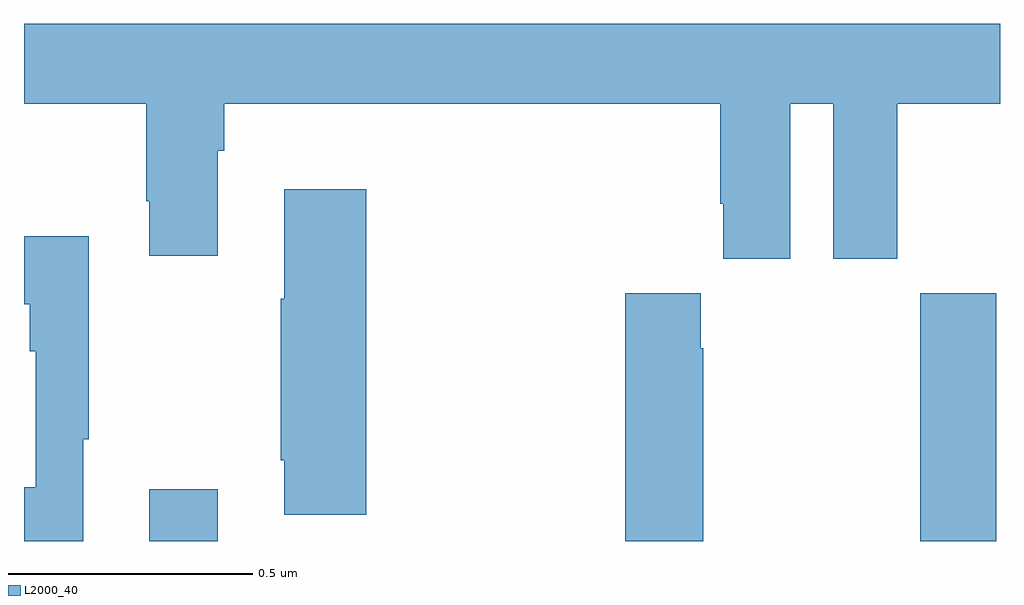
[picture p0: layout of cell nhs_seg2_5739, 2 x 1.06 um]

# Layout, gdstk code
import gdstk
lib = gdstk.Library(unit=1e-6, precision=1e-09)
def R(c, l, rs):  # rectangles x0, y0, x1, y1
    for r in rs: c.add(gdstk.rectangle(r[:2], r[2:], *l))
def P(c, l, *ps):  # polygons
    for p in ps: c.add(gdstk.Polygon(p, *l))
L2000_40 = (2000, 40)

nhs_seg2_5739 = lib.new_cell('nhs_seg2_5739')
R(nhs_seg2_5739, L2000_40, [(183.257,586.8,183.397,586.906), (184.837,586.8,184.992,587.308)])
P(nhs_seg2_5739, L2000_40, [(184.57,587.696),(184.658,587.696),(184.658,587.379),(184.789,587.379),(184.789,587.696),(185,587.696),(185,587.86),(183,587.86),(183,587.696),(183.25,587.696),(183.25,587.497),(183.257,587.497),(183.257,587.385),(183.397,587.385),(183.397,587.6),(183.41,587.6),(183.41,587.696),(184.427,587.696),(184.427,587.491),(184.433,587.491),(184.433,587.379),(184.57,587.379)],
  [(183.701,587.521),(183.533,587.521),(183.533,587.297),(183.526,587.297),(183.526,586.966),(183.533,586.966),(183.533,586.854),(183.701,586.854)],
  [(183.121,587.009),(183.133,587.009),(183.133,587.425),(183,587.425),(183,587.285),(183.012,587.285),(183.012,587.189),(183.024,587.189),(183.024,586.91),(183,586.91),(183,586.8),(183.121,586.8)],
  [(184.392,587.195),(184.387,587.195),(184.387,587.308),(184.232,587.308),(184.232,586.8),(184.392,586.8)])

lib.write_gds('nhs_seg2_5739.gds')
